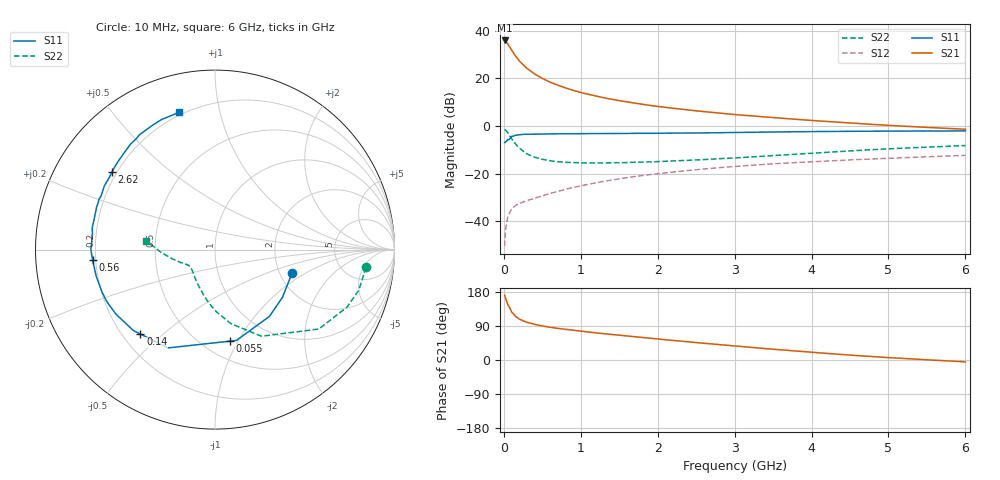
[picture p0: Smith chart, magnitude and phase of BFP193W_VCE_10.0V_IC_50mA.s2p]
! Infineon Technologies  Discrete & RF Semiconductors
! BFP193W
! VCE = 10.0V,  IC =  50 mA
! Common Emitter S-Parameters:  Jan 2016
# GHz  S  MA  R  50
!  f  S11  S21  S12  S22
! GHz  MAG  ANG  MAG  ANG  MAG  ANG  MAG  ANG
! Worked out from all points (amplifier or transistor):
!   210 points, 10 MHz to 6 GHz, reference 50 ohm
!   highest |S21| = 35.9 dB at 10 MHz (marker M1)
!   |S21| within 3 dB of that: start of sweep to 80.32 MHz
!   unconditionally stable (mu >= 1): 747.2 MHz to 4.991 GHz
!   at 185 MHz: K = 0.50, MSG = 30.4 dB, |S12| = -32.8 dB
!   at 1.52 GHz: K = 1.11, MAG = 14.3 dB, |S12| = -22.1 dB
!   at 6 GHz: K = 0.97, MSG = 5.5 dB, |S12| = -12.3 dB
!   S11 on the Smith chart (normalised r, x): 10 MHz: 2.32, -0.77; 55 MHz: 0.66, -0.92; 140 MHz: 0.27, -0.42; 560 MHz: 0.19, -0.04; 2.62 GHz: 0.18, +0.32; 6 GHz: 0.18, +0.76
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0.01  0.4486 -17.1  62.65 171.1  0.003 66.4  0.8473 -6.7
0.02  0.4604 -35.2  61.34 165.1  0.0059 67.5  0.8323 -15.9
0.03  0.48 -50.8  59.32 158.7  0.008 67.0  0.8023 -23.5
0.05  0.52 -76.7  53.54 146.8  0.0119 60.4  0.7287 -37.4
0.055  0.5167 -80.9  51.91 145.3  0.0125 58.7  0.7061 -39.2
0.1  0.6062 -115.4  39.5 126.9  0.0182 48.6  0.5475 -61.8
0.14  0.6277 -131.4  31.56 118.0  0.0207 44.9  0.4443 -73.9
0.15  0.6404 -135.2  29.74 115.0  0.0213 44.1  0.4225 -77.8
0.2  0.6583 -146.7  23.38 108.0  0.0237 43.5  0.3455 -88.9
0.26  0.6694 -155.3  18.64 102.4  0.0256 43.4  0.2895 -98.4
0.3  0.6721 -159.6  16.2 99.4  0.0271 44.7  0.2605 -104.2
0.4  0.6784 -167.4  12.37 93.9  0.0304 47.7  0.2217 -114.4
0.56  0.6843 -175.1  8.995 87.9  0.0366 52.3  0.1917 -125.8
0.8  0.6883 177.1  6.303 80.8  0.0468 56.3  0.1729 -136.1
1.02  0.6903 171.7  4.969 75.8  0.0561 58.3  0.1688 -142.1
1.4  0.6966 164.1  3.648 67.4  0.0733 59.0  0.1695 -147.7
2.02  0.7053 152.8  2.559 55.0  0.1009 57.1  0.18 -152.5
2.62  0.7181 143.1  1.991 43.8  0.1263 53.5  0.1981 -158.3
3.1  0.7337 135.7  1.692 35.4  0.1456 50.1  0.2187 -162.8
4.1  0.767 122.0  1.277 18.8  0.1815 42.7  0.275 -173.5
5.1  0.7833 111.8  1.012 5.2  0.2131 36.0  0.3379 177.7
6  0.791 104.6  0.856 -4.9  0.2421 30.9  0.3892 173.0
